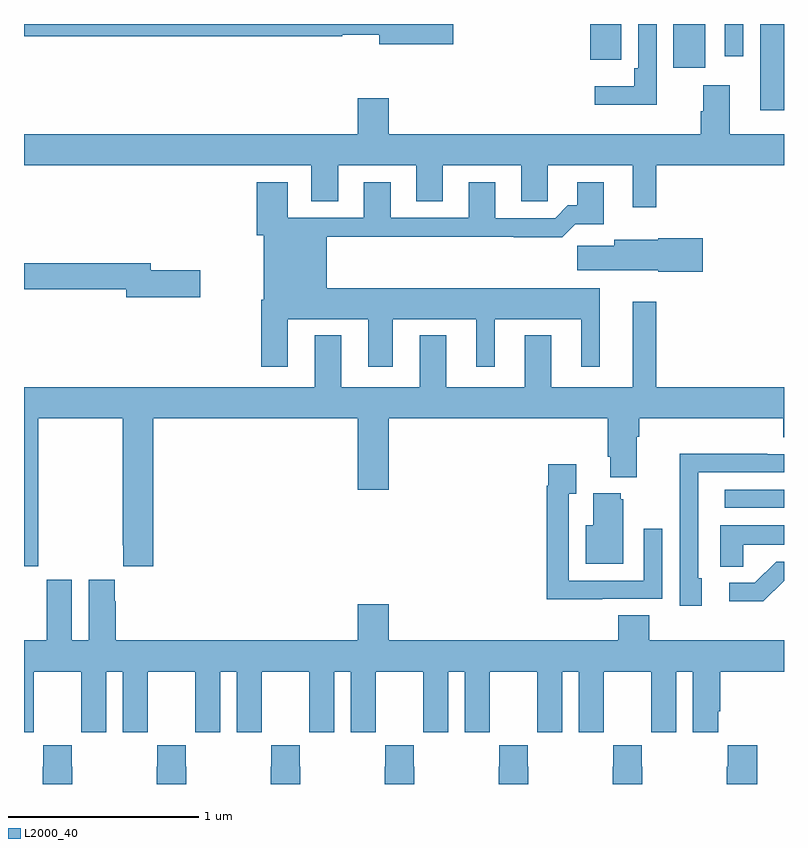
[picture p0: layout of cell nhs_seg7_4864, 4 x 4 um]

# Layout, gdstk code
import gdstk
lib = gdstk.Library(unit=1e-6, precision=1e-09)
def R(c, l, rs):  # rectangles x0, y0, x1, y1
    for r in rs: c.add(gdstk.rectangle(r[:2], r[2:], *l))
def P(c, l, *ps):  # polygons
    for p in ps: c.add(gdstk.Polygon(p, *l))
L2000_40 = (2000, 40)

nhs_seg7_4864 = lib.new_cell('nhs_seg7_4864')
R(nhs_seg7_4864, L2000_40, [(418.689,1025.454,419,1025.55), (418.874,1027.545,419,1028), (418.418,1027.77,418.585,1028), (417.98,1027.811,418.144,1028), (418.689,1027.83,418.785,1028)])
P(nhs_seg7_4864, L2000_40, [(417.259,1028),(415,1028),(415,1027.936),(416.674,1027.936),(416.674,1027.944),(416.87,1027.944),(416.87,1027.894),(417.259,1027.894)],
  [(418.329,1028),(418.233,1028),(418.233,1027.768),(418.213,1027.768),(418.213,1027.672),(418.005,1027.672),(418.005,1027.574),(418.329,1027.574)],
  [(418.327,1027.256),(419,1027.256),(419,1027.42),(418.714,1027.42),(418.714,1027.678),(418.574,1027.678),(418.574,1027.541),(418.562,1027.541),(418.562,1027.42),(416.92,1027.42),(416.92,1027.609),(416.756,1027.609),(416.756,1027.42),(415,1027.42),(415,1027.256),(416.513,1027.256),(416.513,1027.066),(416.653,1027.066),(416.653,1027.256),(417.065,1027.256),(417.065,1027.066),(417.205,1027.066),(417.205,1027.256),(417.617,1027.256),(417.617,1027.066),(417.756,1027.066),(417.756,1027.256),(418.205,1027.256),(418.205,1027.035),(418.327,1027.035)],
  [(416.389,1026.446),(416.813,1026.446),(416.813,1026.195),(416.941,1026.195),(416.941,1026.446),(417.38,1026.446),(417.38,1026.195),(417.478,1026.195),(417.478,1026.446),(417.932,1026.446),(417.932,1026.195),(418.03,1026.195),(418.03,1026.61),(416.593,1026.61),(416.593,1026.88),(417.577,1026.88),(417.577,1026.878),(417.833,1026.878),(417.902,1026.947),(418.051,1026.947),(418.051,1027.168),(417.911,1027.168),(417.911,1027.045),(417.862,1027.045),(417.795,1026.978),(417.481,1026.978),(417.481,1027.168),(417.341,1027.168),(417.341,1026.981),(416.929,1026.981),(416.929,1027.168),(416.789,1027.168),(416.789,1026.981),(416.389,1026.981),(416.389,1027.168),(416.225,1027.168),(416.225,1026.888),(416.261,1026.888),(416.261,1026.55),(416.249,1026.55),(416.249,1026.195),(416.389,1026.195)],
  [(418.573,1026.873),(418.338,1026.873),(418.338,1026.865),(418.106,1026.865),(418.106,1026.833),(417.912,1026.833),(417.912,1026.704),(418.338,1026.704),(418.338,1026.695),(418.573,1026.695)],
  [(415.927,1026.704),(415.666,1026.704),(415.666,1026.74),(415,1026.74),(415,1026.604),(415.538,1026.604),(415.538,1026.562),(415.927,1026.562)],
  [(416.671,1026.361),(416.531,1026.361),(416.531,1026.088),(415,1026.088),(415,1025.145),(415.074,1025.145),(415.074,1025.924),(415.519,1025.924),(415.519,1025.257),(415.523,1025.257),(415.523,1025.145),(415.679,1025.145),(415.679,1025.924),(416.756,1025.924),(416.756,1025.55),(416.92,1025.55),(416.92,1025.924),(418.073,1025.924),(418.073,1025.722),(418.085,1025.722),(418.085,1025.615),(418.225,1025.615),(418.225,1025.828),(418.238,1025.828),(418.238,1025.924),(418.997,1025.924),(418.997,1025.825),(419,1025.825),(419,1026.088),(418.327,1026.088),(418.327,1026.538),(418.205,1026.538),(418.205,1026.088),(417.775,1026.088),(417.775,1026.361),(417.635,1026.361),(417.635,1026.088),(417.223,1026.088),(417.223,1026.361),(417.083,1026.361),(417.083,1026.088),(416.671,1026.088)],
  [(418.567,1025.082),(418.548,1025.082),(418.548,1025.64),(419,1025.64),(419,1025.736),(418.913,1025.736),(418.913,1025.738),(418.45,1025.738),(418.45,1025.431),(418.452,1025.431),(418.452,1024.938),(418.567,1024.938)],
  [(418.043,1024.974),(418.359,1024.974),(418.359,1025.344),(418.263,1025.344),(418.263,1025.07),(417.867,1025.07),(417.867,1025.527),(417.907,1025.527),(417.907,1025.683),(417.759,1025.683),(417.759,1025.57),(417.751,1025.57),(417.751,1024.973),(418.043,1024.973)],
  [(418.153,1025.499),(418.142,1025.499),(418.142,1025.53),(417.995,1025.53),(417.995,1025.362),(417.956,1025.362),(417.956,1025.159),(418.153,1025.159)],
  [(418.785,1025.258),(419,1025.258),(419,1025.362),(418.664,1025.362),(418.664,1025.143),(418.785,1025.143)],
  [(419,1025.069),(419,1025.169),(418.958,1025.169),(418.847,1025.058),(418.713,1025.058),(418.713,1024.961),(418.891,1024.961)],
  [(415.484,1024.961),(415.477,1024.961),(415.477,1025.074),(415.34,1025.074),(415.34,1024.756),(415.252,1024.756),(415.252,1025.074),(415.121,1025.074),(415.121,1024.756),(415,1024.756),(415,1024.272),(415.05,1024.272),(415.05,1024.384),(415.051,1024.384),(415.051,1024.592),(415.301,1024.592),(415.301,1024.384),(415.302,1024.384),(415.302,1024.272),(415.432,1024.272),(415.432,1024.592),(415.52,1024.592),(415.52,1024.272),(415.65,1024.272),(415.65,1024.384),(415.651,1024.384),(415.651,1024.592),(415.901,1024.592),(415.901,1024.384),(415.902,1024.384),(415.902,1024.272),(416.032,1024.272),(416.032,1024.592),(416.12,1024.592),(416.12,1024.272),(416.25,1024.272),(416.25,1024.384),(416.251,1024.384),(416.251,1024.592),(416.501,1024.592),(416.501,1024.384),(416.502,1024.384),(416.502,1024.272),(416.632,1024.272),(416.632,1024.592),(416.72,1024.592),(416.72,1024.272),(416.85,1024.272),(416.85,1024.384),(416.851,1024.384),(416.851,1024.592),(417.101,1024.592),(417.101,1024.384),(417.102,1024.384),(417.102,1024.272),(417.232,1024.272),(417.232,1024.592),(417.32,1024.592),(417.32,1024.272),(417.45,1024.272),(417.45,1024.384),(417.451,1024.384),(417.451,1024.592),(417.701,1024.592),(417.701,1024.384),(417.702,1024.384),(417.702,1024.272),(417.832,1024.272),(417.832,1024.592),(417.92,1024.592),(417.92,1024.272),(418.05,1024.272),(418.05,1024.384),(418.051,1024.384),(418.051,1024.592),(418.301,1024.592),(418.301,1024.384),(418.302,1024.384),(418.302,1024.272),(418.432,1024.272),(418.432,1024.592),(418.52,1024.592),(418.52,1024.272),(418.654,1024.272),(418.654,1024.384),(418.664,1024.384),(418.664,1024.592),(419,1024.592),(419,1024.756),(418.292,1024.756),(418.292,1024.889),(418.127,1024.889),(418.127,1024.756),(416.92,1024.756),(416.92,1024.945),(416.756,1024.945),(416.756,1024.756),(415.484,1024.756)],
  [(418.859,1024.204),(418.705,1024.204),(418.705,1024.091),(418.699,1024.091),(418.699,1024),(418.859,1024)],
  [(418.254,1024.091),(418.251,1024.091),(418.251,1024.204),(418.101,1024.204),(418.101,1024.091),(418.099,1024.091),(418.099,1024),(418.254,1024)],
  [(417.654,1024.091),(417.651,1024.091),(417.651,1024.204),(417.501,1024.204),(417.501,1024.091),(417.499,1024.091),(417.499,1024),(417.654,1024)],
  [(416.901,1024.091),(416.899,1024.091),(416.899,1024),(417.054,1024),(417.054,1024.091),(417.051,1024.091),(417.051,1024.204),(416.901,1024.204)],
  [(416.454,1024.091),(416.451,1024.091),(416.451,1024.204),(416.301,1024.204),(416.301,1024.091),(416.299,1024.091),(416.299,1024),(416.454,1024)],
  [(415.854,1024.091),(415.851,1024.091),(415.851,1024.204),(415.701,1024.204),(415.701,1024.091),(415.699,1024.091),(415.699,1024),(415.854,1024)],
  [(415.254,1024.091),(415.251,1024.091),(415.251,1024.204),(415.101,1024.204),(415.101,1024.091),(415.099,1024.091),(415.099,1024),(415.254,1024)])

lib.write_gds('nhs_seg7_4864.gds')
